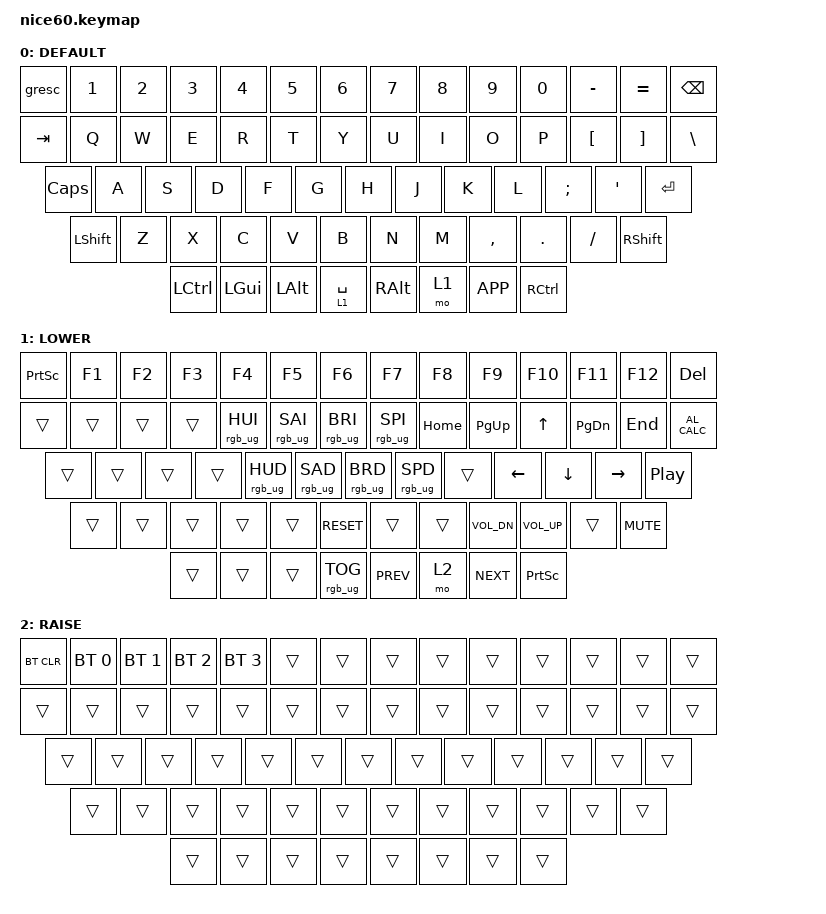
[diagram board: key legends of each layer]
/*
 * Copyright (c) 2021 Nick Winans
 *
 * SPDX-License-Identifier: MIT
 */

#define DEFAULT 0
#define LOWER 1
#define RAISE 2

#include <behaviors.dtsi>
#include <dt-bindings/zmk/keys.h>
#include <dt-bindings/zmk/rgb.h>
#include <dt-bindings/zmk/bt.h>
#include <dt-bindings/zmk/outputs.h>
#include <dt-bindings/zmk/reset.h>
#include <dt-bindings/zmk/ext_power.h>

/ {
	keymap {
		compatible = "zmk,keymap";
		
		DEFAULT {
// ------------------------------------------------------------------------------------------
// | ESC |  1  |  2  |  3  |  4  |  5  |  6  |  7  |  8  |  9  |  0  |  -  |  =  |   BKSP   |
// | TAB  |  Q  |  W  |  E  |  R  |  T  |  Y  |  U  |  I  |  O  |  P  |  [  |  ]  |   "|"   |
// | CAPS  |  A  |  S  |  D  |  F  |  G  |  H  |  J  |  K  |  L  |  ;  |  '  |     ENTER    |
// |  SHIFT  |  Z  |  X  |  C  |  V  |  B  |  N  |  M  |  ,  |  .  |  /  |      SHIFT       |
// |  CTL  |  WIN  |  ALT  |            SPACE             |  ALT  |  MO(1)  |  MENU |  CTL  |
// ------------------------------------------------------------------------------------------
			bindings = <
	&gresc  &kp N1 &kp N2 &kp N3 &kp N4 &kp N5 &kp N6 &kp N7 &kp N8 &kp N9 &kp N0 &kp MINUS &kp EQUAL  &kp BSPC
	&kp TAB  &kp Q  &kp W  &kp E  &kp R  &kp T  &kp Y  &kp U  &kp I  &kp O  &kp P  &kp LBKT  &kp RBKT  &kp BSLH
	&kp CLCK  &kp A  &kp S  &kp D  &kp F  &kp G  &kp H  &kp J  &kp K  &kp L  &kp SEMI &kp SQT           &kp RET
	&kp LSHFT   &kp Z  &kp X  &kp C  &kp V  &kp B  &kp N  &kp M  &kp COMMA &kp DOT &kp FSLH           &kp RSHFT
	&kp LCTRL &kp LGUI &kp LALT             &lt 1 SPACE                     &kp RALT  &mo 1   &kp K_APP  &kp RCTRL
			>;
		};

		LOWER {
// ------------------------------------------------------------------------------------------------
// | PSCRN |  F1  |  F2  |  F3  |  F4  |  F5  |  F6  |  F7  |  F8  |  F9  |  F10  |  F11  |  F12  |  DEL  |
// |   |   |   |   |  HUEUP  |  SATUP  | BRIUP | SPDUP |  HOME  |  PGUP  |  UP  |  PGDN  |  END  |  CALC  |
// |    |    |    |    |  HUEDN  |  SATDN  |  BRIDN  |  SPDDN  |     |  LEFT  |  DOWN  |  RIGHT  |  PLAY  |
// |        |      |      |     |      |   RESET   |      |      |  VOL DN  |  VOL UP  |     |    MUTE    |
// |    |      |      |             TOG RGB                |  PREV   |   MO(2)    |    NEXT   |  PRT SCR  |
// ------------------------------------------------------------------------------------------------
			bindings = <
	&kp PSCRN   &kp F1    &kp F2    &kp F3  &kp F4           &kp F5          &kp F6          &kp F7          &kp F8   &kp F9   &kp F10  &kp F11 &kp F12  &kp DEL
	&trans  &trans    &trans    &trans  &rgb_ug RGB_HUI  &rgb_ug RGB_SAI &rgb_ug RGB_BRI &rgb_ug RGB_SPI  &kp HOME   &kp PG_UP   &kp UP   &kp PG_DN  &kp END          &kp C_AL_CALC
	&trans   &trans  &trans  &trans &rgb_ug RGB_HUD &rgb_ug RGB_SAD &rgb_ug RGB_BRD &rgb_ug RGB_SPD &trans   &kp LEFT   &kp DOWN   &kp RIGHT        &kp C_PLAY_PAUSE
	&trans    &trans    &trans    &trans   &trans          &kp C_RESET          &trans          &trans          &kp C_VOL_DN   &kp C_VOL_UP   &trans                          &kp C_MUTE
	&trans  &trans   &trans                            &rgb_ug RGB_TOG                                      &kp C_PREV      &mo 2      &kp C_NEXT               &kp PSCRN
			>;
		};

		RAISE {
// ------------------------------------------------------------------------------------------------
// | BT CLR | BT 1 | BT 2 | BT 3 | BT 4 |     |     |     |     |     |      |     |     |           |
// |     |     |     |     |     |     |     |     |     |     |      |     |     |           |
// |     |     |     |     |     |     |     |     |    |      |   |     |    |
// |     |     |      |      |      |      |     |     |     |     |     |                  |
// |     |      |      |                             |  |       |       |    |
// ------------------------------------------------------------------------------------------------
			bindings = <
	&bt BT_CLR  &bt BT_SEL 0  &bt BT_SEL 1  &bt BT_SEL 2  &bt BT_SEL 3  &trans &trans  &trans  &trans   &trans   &trans  &trans &trans  &trans
	&trans  &trans  &trans  &trans  &trans  &trans &trans  &trans   &trans   &trans   &trans  &trans    &trans &trans
	&trans   &trans  &trans  &trans &trans &trans &trans &trans  &trans   &trans   &trans   &trans        &trans
	&trans    &trans    &trans    &trans   &trans  &trans          &trans          &trans          &trans   &trans   &trans    &trans
	&trans  &trans   &trans                            &trans                                      &trans      &trans      &trans     &trans
			>;
		};

	};
};
